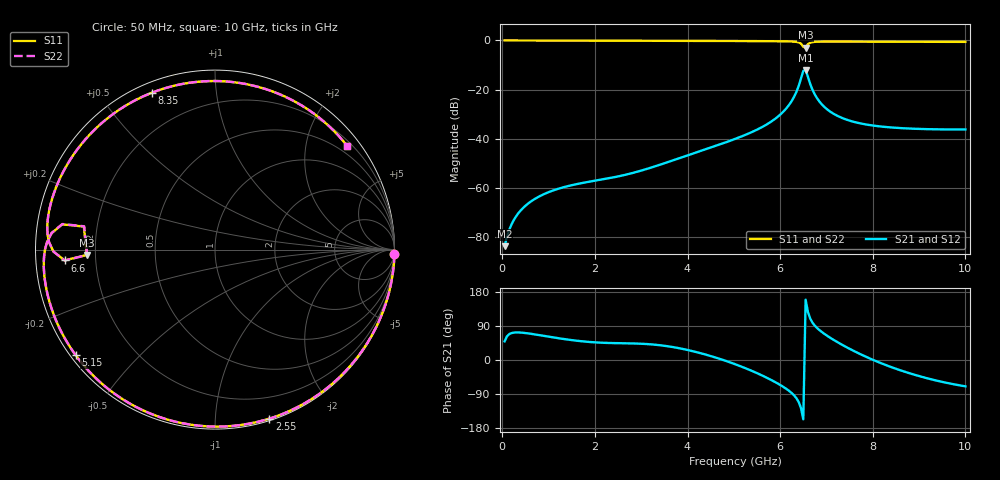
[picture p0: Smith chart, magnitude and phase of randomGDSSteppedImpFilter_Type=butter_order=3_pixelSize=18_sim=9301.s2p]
! freq	dB(S11)	phase(S11)	dB(S12)	phase(S12)
!  dB(S21)	phase(S21)	dB(S22)	phase(S22)
!S-par simulation data
#  GHz  S  DB  R 50
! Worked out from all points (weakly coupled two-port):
!   200 points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, 50 MHz to 10 GHz, reference 50 ohm
!   highest |S21| = -11.98 dB at 6.55 GHz (marker M1); lowest = -83.6 dB at 50 MHz (marker M2)
!   lowest |S11| = -2.9 dB at 6.55 GHz (marker M3), VSWR 6.01, Z = 8.32 - j1.02 ohm
!   |S11| at or under -10 dB: nowhere
!   |S22| runs from -2.9 to 0.0 dB; largest |S21 - S12| = 0
!   S11 on the Smith chart (normalised r, x): 50 MHz: 0, -78; 2.55 GHz: 0.02, -1.37; 5.15 GHz: 0.01, -0.34; 6.6 GHz: 0.09, -0.04; 8.35 GHz: 0.04, +0.68; 10 GHz: 0.31, +2.85
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0.05  -0.00 -1.5  -83.63 49.1  -83.63 49.1  -0.00 -1.5
0.1  -0.00 -2.9  -79.90 62.3  -79.90 62.3  -0.00 -2.9
0.35  -0.01 -10.2  -70.16 72.7  -70.16 72.7  -0.01 -10.2
0.65  -0.02 -18.8  -65.05 68.6  -65.05 68.6  -0.02 -18.9
1.75  -0.06 -50.0  -57.86 49.0  -57.86 49.0  -0.06 -50.0
2.55  -0.09 -72.1  -55.07 44.3  -55.07 44.3  -0.09 -72.1
3.4  -0.13 -95.2  -50.55 39.1  -50.55 39.1  -0.13 -95.2
4.2  -0.17 -116.7  -45.46 20.6  -45.46 20.6  -0.17 -116.7
5.05  -0.22 -140.1  -39.86 -12.1  -39.86 -12.1  -0.22 -140.1
5.15  -0.23 -142.9  -39.14 -16.8  -39.14 -16.8  -0.23 -142.9
6.05  -0.33 -170.2  -29.30 -69.5  -29.30 -69.5  -0.33 -170.3
6.3  -0.47 180.0  -22.93 -93.2  -22.93 -93.2  -0.47 179.9
6.45  -1.28 170.6  -15.49 -126.9  -15.49 -126.9  -1.29 170.5
6.5  -2.59 170.0  -12.37 -156.5  -12.37 -156.5  -2.61 169.9
6.55  -2.92 -177.6  -11.98 159.2  -11.98 159.2  -2.94 -177.6
6.6  -1.52 -175.9  -14.79 126.7  -14.79 126.7  -1.53 -175.8
6.7  -0.67 177.5  -20.13 98.2  -20.13 98.2  -0.68 177.5
6.9  -0.46 168.1  -25.98 73.8  -25.98 73.8  -0.46 168.1
7.25  -0.44 154.8  -30.78 46.2  -30.78 46.2  -0.44 154.8
8.35  -0.52 111.9  -35.30 -16.5  -35.30 -16.5  -0.52 111.8
9.15  -0.56 77.0  -36.05 -47.4  -36.05 -47.4  -0.56 77.0
10  -0.58 38.3  -36.19 -69.5  -36.19 -69.5  -0.58 38.2
